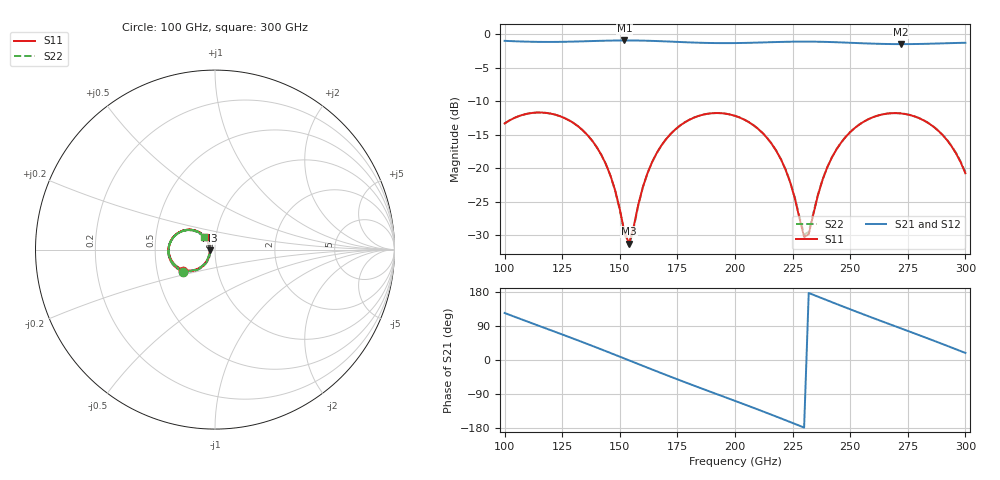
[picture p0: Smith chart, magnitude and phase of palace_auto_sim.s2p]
#  GHZ S DB R 50
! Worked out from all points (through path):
!   101 points, 100 GHz to 300 GHz, reference 50 ohm
!   highest |S21| = -0.90 dB at 152 GHz (marker M1); lowest = -1.5 dB at 272 GHz (marker M2)
!   group delay of S21, straight-line fit = 6.48 ps
!   lowest |S11| = -31.3 dB at 154 GHz (marker M3), VSWR 1.06, Z = 47.4 - j0.284 ohm
!   |S11| at or under -10 dB: start of sweep to end of sweep
!   |S22| runs from -31.7 to -11.7 dB; largest |S21 - S12| = 1e-13
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100  -13.31 -145.7  -0.96 124.1  -0.96 124.1  -13.31 -145.4
116  -11.68 -178.8  -1.12 87.7  -1.12 87.7  -11.68 -178.6
134  -14.36 145.0  -1.03 46.7  -1.03 46.7  -14.36 145.0
144  -19.43 129.2  -0.94 23.2  -0.94 23.2  -19.45 128.9
152  -29.50 150.5  -0.90 3.9  -0.90 3.9  -29.76 149.6
154  -31.26 -173.7  -0.90 -0.9  -0.90 -0.9  -31.66 -173.1
160  -22.83 -124.6  -0.93 -15.4  -0.93 -15.4  -22.88 -123.3
168  -16.63 -131.3  -1.02 -34.6  -1.02 -34.6  -16.64 -130.4
184  -12.21 -161.9  -1.24 -71.7  -1.24 -71.7  -12.21 -161.2
200  -12.17 165.9  -1.29 -107.9  -1.29 -107.9  -12.17 166.6
218  -17.45 132.8  -1.14 -149.5  -1.14 -149.5  -17.43 133.9
224  -22.16 128.8  -1.09 -163.8  -1.09 -163.8  -22.09 130.2
230  -30.30 166.6  -1.08 -178.3  -1.08 -178.3  -29.91 167.7
232  -29.89 -157.7  -1.08 176.9  -1.08 176.9  -29.54 -158.3
234  -26.90 -136.5  -1.08 172.0  -1.08 172.0  -26.73 -137.3
240  -19.92 -126.6  -1.13 157.6  -1.13 157.6  -19.88 -126.8
246  -16.20 -134.0  -1.19 143.3  -1.19 143.3  -16.18 -133.9
258  -12.66 -156.3  -1.36 115.3  -1.36 115.3  -12.65 -155.9
268  -11.78 -176.2  -1.44 92.5  -1.44 92.5  -11.77 -175.6
272  -11.81 175.8  -1.45 83.5  -1.45 83.5  -11.80 176.5
288  -14.32 144.9  -1.36 46.9  -1.36 46.9  -14.30 146.1
300  -20.76 129.1  -1.25 18.6  -1.25 18.6  -20.61 131.8
